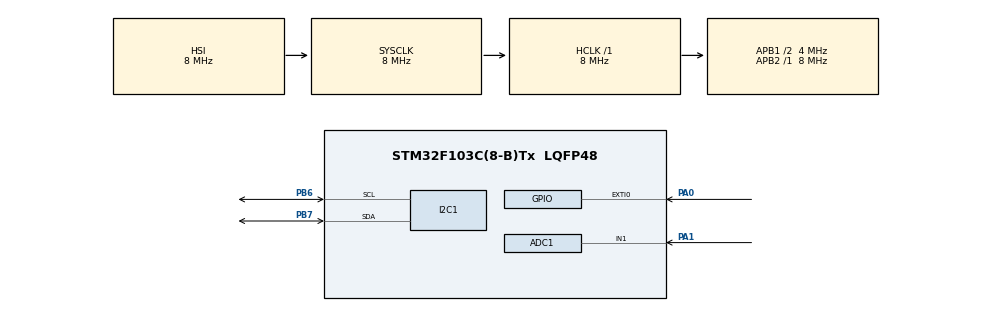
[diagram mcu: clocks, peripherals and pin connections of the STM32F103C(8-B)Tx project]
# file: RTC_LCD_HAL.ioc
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ADC1.Channel-0\#ChannelRegularConversion=ADC_CHANNEL_1
ADC1.NbrOfConversionFlag=1
ADC1.Rank-0\#ChannelRegularConversion=1
ADC1.SamplingTime-0\#ChannelRegularConversion=ADC_SAMPLETIME_1CYCLE_5
ADC1.master=1
Mcu.Family=STM32F1
Mcu.Name=STM32F103C(8-B)Tx
Mcu.Package=LQFP48
NVIC.EXTI0_IRQn=true\:0\:0\:false\:false\:true\:true\:true\:true
NVIC.PriorityGroup=NVIC_PRIORITYGROUP_4
PA0-WKUP.GPIO_ModeDefaultEXTI=GPIO_MODE_IT_FALLING
PA0-WKUP.Signal=GPXTI0
PA1.Signal=ADCx_IN1
PA13.Mode=Serial_Wire
PA13.Signal=SYS_JTMS-SWDIO
PA14.Mode=Serial_Wire
PA14.Signal=SYS_JTCK-SWCLK
PB6.Mode=I2C
PB6.Signal=I2C1_SCL
PB7.Mode=I2C
PB7.Signal=I2C1_SDA
ProjectManager.HeapSize=0x200
ProjectManager.StackSize=0x400
ProjectManager.TargetToolchain=STM32CubeIDE
RCC.AHBFreq_Value=8000000
RCC.APB1CLKDivider=RCC_HCLK_DIV2
RCC.APB1Freq_Value=4000000
RCC.APB1TimFreq_Value=8000000
RCC.APB2Freq_Value=8000000
RCC.APB2TimFreq_Value=8000000
RCC.HCLKFreq_Value=8000000
RCC.PLLMUL=RCC_PLL_MUL16
RCC.SYSCLKFreq_VALUE=8000000
RCC.USBFreq_Value=64000000
RTC.Date=9
RTC.Month=RTC_MONTH_APRIL
RTC.WeekDay=RTC_WEEKDAY_WEDNESDAY
RTC.Year=25
SH.ADCx_IN1.0=ADC1_IN1,IN1
VP_RTC_VS_RTC_Activate.Mode=RTC_Enabled
VP_RTC_VS_RTC_Calendar.Mode=RTC_Calendar
board=custom

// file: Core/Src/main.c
/* USER CODE BEGIN Header */
/**
  ******************************************************************************
  * @file           : main.c
  * @brief          : Main program body
  ******************************************************************************
  * @attention
  *
  * Copyright (c) 2025 STMicroelectronics.
  * All rights reserved.
  *
  * This software is licensed under terms that can be found in the LICENSE file
  * in the root directory of this software component.
  * If no LICENSE file comes with this software, it is provided AS-IS.
  *
  ******************************************************************************
  */
/* USER CODE END Header */
#include "main.h"

/* USER CODE BEGIN Includes */
#include <stdio.h>
#include <string.h>
#include <stdint.h>
#include "liquidcrystal_i2c.h"
/* USER CODE END Includes */

/* USER CODE BEGIN PTD */
RTC_TimeTypeDef sTime;
RTC_DateTypeDef DateToUpdate;
/* USER CODE END PTD */

/* USER CODE BEGIN PD */
char date[30];
char time[30];
char temp_str[10];
uint8_t mode = 1;
uint8_t last_time = 0;
uint8_t last_state = 1;
int temperature = 0;

/* USER CODE END PD */

/* USER CODE BEGIN PM */
#define LM35_CHANNEL ADC_CHANNEL_1

/* USER CODE END PM */

ADC_HandleTypeDef hadc1;

I2C_HandleTypeDef hi2c1;

RTC_HandleTypeDef hrtc;

/* USER CODE BEGIN PV */
void HAL_GPIO_EXTI_Callback(uint16_t GPIO_Pin)
{
  if (GPIO_Pin == GPIO_PIN_0){
	  uint32_t current_time = HAL_GetTick();
	  if ((current_time - last_time) > 200)
	  {
		  mode = 1 - mode;
		  last_time = current_time;
	  }
  }
}

float Read_LM35_Temperature(void)
{
    uint32_t adc_value = 0;

    HAL_ADC_Start(&hadc1);
    if (HAL_ADC_PollForConversion(&hadc1, 100) == HAL_OK)
    {
        adc_value = HAL_ADC_GetValue(&hadc1);
    }
    HAL_ADC_Stop(&hadc1);

    float voltage = (adc_value * 3300.0) / 4095.0; // mV
    float temp = voltage / 10.0; // 10mV/°C
    return temp;
}
/* USER CODE END PV */

void SystemClock_Config(void);
static void MX_GPIO_Init(void);
static void MX_I2C1_Init(void);
static void MX_RTC_Init(void);
static void MX_ADC1_Init(void);

int main(void)
{

  /* MCU Configuration--------------------------------------------------------*/

  /* Reset of all peripherals, Initializes the Flash interface and the Systick. */
  HAL_Init();

  /* Configure the system clock */
  SystemClock_Config();

  /* Initialize all configured peripherals */
  MX_GPIO_Init();
  MX_I2C1_Init();
  MX_RTC_Init();
  MX_ADC1_Init();
  /* USER CODE BEGIN 2 */
  HD44780_Init(2);
  HD44780_Clear();
  HD44780_SetCursor(4,0);
  HD44780_PrintStr("Gia Huy");
  HD44780_SetCursor(4,1);
  HD44780_PrintStr("ITPlus");
  HAL_Delay(2000);
  HD44780_Clear();

  /* USER CODE END 2 */

  /* Infinite loop */
  /* USER CODE BEGIN WHILE */
  while (1)
  {
    HAL_RTC_GetDate(&hrtc, &DateToUpdate, RTC_FORMAT_BIN);
    HAL_RTC_GetTime(&hrtc, &sTime, RTC_FORMAT_BIN);
    temperature = Read_LM35_Temperature();
    sprintf(date, "%02d/%02d/20%02d", DateToUpdate.Date, DateToUpdate.Month, DateToUpdate.Year);
    sprintf(time, "%02d:%02d:%02d", sTime.Hours, sTime.Minutes, sTime.Seconds);
    sprintf(temp_str, "%doC", temperature);

    HD44780_SetCursor(0,0);
    HD44780_PrintStr(date);
    HD44780_SetCursor(1,1);
    HD44780_PrintStr(time);
    HD44780_SetCursor(12,0);
	HD44780_PrintStr("Temp");
    HD44780_SetCursor(12,1);
    HD44780_PrintStr(temp_str);

    if (mode){
    	HD44780_Backlight();
    } else {
    	HD44780_NoBacklight();
    }

    HAL_Delay(500);

    /* USER CODE END WHILE */

  }
}

void SystemClock_Config(void)
{
  RCC_OscInitTypeDef RCC_OscInitStruct = {0};
  RCC_ClkInitTypeDef RCC_ClkInitStruct = {0};
  RCC_PeriphCLKInitTypeDef PeriphClkInit = {0};

  /** Initializes the RCC Oscillators according to the specified parameters
  * in the RCC_OscInitTypeDef structure.
  */
  RCC_OscInitStruct.OscillatorType = RCC_OSCILLATORTYPE_HSI|RCC_OSCILLATORTYPE_LSI;
  RCC_OscInitStruct.HSIState = RCC_HSI_ON;
  RCC_OscInitStruct.HSICalibrationValue = RCC_HSICALIBRATION_DEFAULT;
  RCC_OscInitStruct.LSIState = RCC_LSI_ON;
  RCC_OscInitStruct.PLL.PLLState = RCC_PLL_NONE;
  if (HAL_RCC_OscConfig(&RCC_OscInitStruct) != HAL_OK)
  {
    Error_Handler();
  }

  /** Initializes the CPU, AHB and APB buses clocks
  */
  RCC_ClkInitStruct.ClockType = RCC_CLOCKTYPE_HCLK|RCC_CLOCKTYPE_SYSCLK
                              |RCC_CLOCKTYPE_PCLK1|RCC_CLOCKTYPE_PCLK2;
  RCC_ClkInitStruct.SYSCLKSource = RCC_SYSCLKSOURCE_HSI;
  RCC_ClkInitStruct.AHBCLKDivider = RCC_SYSCLK_DIV1;
  RCC_ClkInitStruct.APB1CLKDivider = RCC_HCLK_DIV2;
  RCC_ClkInitStruct.APB2CLKDivider = RCC_HCLK_DIV1;

  if (HAL_RCC_ClockConfig(&RCC_ClkInitStruct, FLASH_LATENCY_0) != HAL_OK)
  {
    Error_Handler();
  }
  PeriphClkInit.PeriphClockSelection = RCC_PERIPHCLK_RTC|RCC_PERIPHCLK_ADC;
  PeriphClkInit.RTCClockSelection = RCC_RTCCLKSOURCE_LSI;
  PeriphClkInit.AdcClockSelection = RCC_ADCPCLK2_DIV2;
  if (HAL_RCCEx_PeriphCLKConfig(&PeriphClkInit) != HAL_OK)
  {
    Error_Handler();
  }
}

static void MX_ADC1_Init(void)
{

  ADC_ChannelConfTypeDef sConfig = {0};

  /** Common config
  */
  hadc1.Instance = ADC1;
  hadc1.Init.ScanConvMode = ADC_SCAN_DISABLE;
  hadc1.Init.ContinuousConvMode = DISABLE;
  hadc1.Init.DiscontinuousConvMode = DISABLE;
  hadc1.Init.ExternalTrigConv = ADC_SOFTWARE_START;
  hadc1.Init.DataAlign = ADC_DATAALIGN_RIGHT;
  hadc1.Init.NbrOfConversion = 1;
  if (HAL_ADC_Init(&hadc1) != HAL_OK)
  {
    Error_Handler();
  }

  /** Configure Regular Channel
  */
  sConfig.Channel = ADC_CHANNEL_1;
  sConfig.Rank = ADC_REGULAR_RANK_1;
  sConfig.SamplingTime = ADC_SAMPLETIME_1CYCLE_5;
  if (HAL_ADC_ConfigChannel(&hadc1, &sConfig) != HAL_OK)
  {
    Error_Handler();
  }

}

static void MX_I2C1_Init(void)
{

  hi2c1.Instance = I2C1;
  hi2c1.Init.ClockSpeed = 100000;
  hi2c1.Init.DutyCycle = I2C_DUTYCYCLE_2;
  hi2c1.Init.OwnAddress1 = 0;
  hi2c1.Init.AddressingMode = I2C_ADDRESSINGMODE_7BIT;
  hi2c1.Init.DualAddressMode = I2C_DUALADDRESS_DISABLE;
  hi2c1.Init.OwnAddress2 = 0;
  hi2c1.Init.GeneralCallMode = I2C_GENERALCALL_DISABLE;
  hi2c1.Init.NoStretchMode = I2C_NOSTRETCH_DISABLE;
  if (HAL_I2C_Init(&hi2c1) != HAL_OK)
  {
    Error_Handler();
  }

}

static void MX_RTC_Init(void)
{

  RTC_TimeTypeDef sTime = {0};
  RTC_DateTypeDef DateToUpdate = {0};

  /** Initialize RTC Only
  */
  hrtc.Instance = RTC;
  hrtc.Init.AsynchPrediv = RTC_AUTO_1_SECOND;
  hrtc.Init.OutPut = RTC_OUTPUTSOURCE_ALARM;
  if (HAL_RTC_Init(&hrtc) != HAL_OK)
  {
    Error_Handler();
  }

  /** Initialize RTC and set the Time and Date
  */
  sTime.Hours = 0x23;
  sTime.Minutes = 0x14;
  sTime.Seconds = 0x0;

  if (HAL_RTC_SetTime(&hrtc, &sTime, RTC_FORMAT_BCD) != HAL_OK)
  {
    Error_Handler();
  }
  DateToUpdate.WeekDay = RTC_WEEKDAY_TUESDAY;
  DateToUpdate.Month = RTC_MONTH_APRIL;
  DateToUpdate.Date = 0x15;
  DateToUpdate.Year = 0x25;

  if (HAL_RTC_SetDate(&hrtc, &DateToUpdate, RTC_FORMAT_BCD) != HAL_OK)
  {
    Error_Handler();
  }

}

static void MX_GPIO_Init(void)
{
  GPIO_InitTypeDef GPIO_InitStruct = {0};

  /* GPIO Ports Clock Enable */
  __HAL_RCC_GPIOA_CLK_ENABLE();
  __HAL_RCC_GPIOB_CLK_ENABLE();

  /*Configure GPIO pin : PA0 */
  GPIO_InitStruct.Pin = GPIO_PIN_0;
  GPIO_InitStruct.Mode = GPIO_MODE_IT_FALLING;
  GPIO_InitStruct.Pull = GPIO_PULLUP;
  HAL_GPIO_Init(GPIOA, &GPIO_InitStruct);

  /* EXTI interrupt init*/
  HAL_NVIC_SetPriority(EXTI0_IRQn, 0, 0);
  HAL_NVIC_EnableIRQ(EXTI0_IRQn);

}

void Error_Handler(void)
{
  __disable_irq();
  while (1)
  {
  }
}
